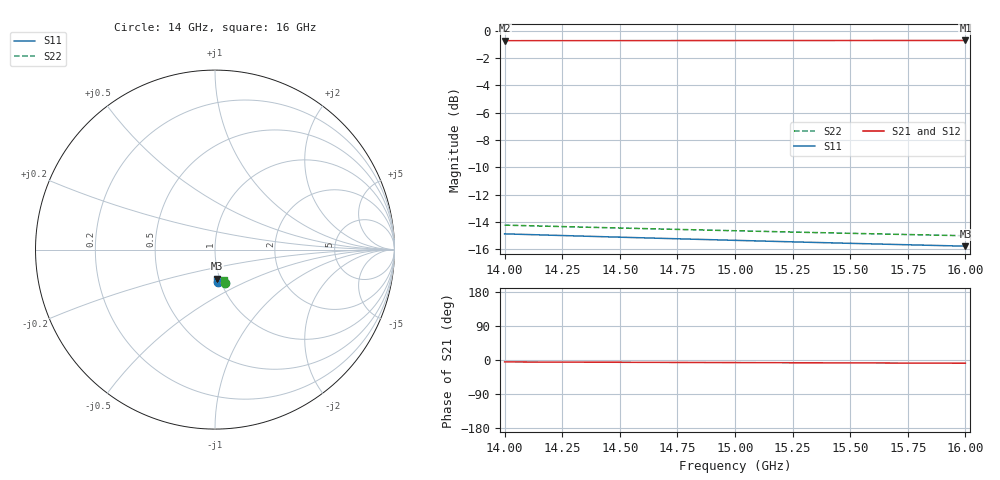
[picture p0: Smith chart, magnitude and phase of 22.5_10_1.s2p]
! Created Tue Dec 15 14:17:42 2020
# hz S ma R 50
! 2 Port Network Data from Sweep1.SP1.SP block
! freq  magS11  angS11  magS21  angS21  magS12  angS12  magS22  angS22
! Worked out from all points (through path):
!   21 points, 14 GHz to 16 GHz, reference 50 ohm
!   highest |S21| = -0.71 dB at 16 GHz (marker M1); lowest = -0.7 dB at 14 GHz (marker M2)
!   group delay of S21, straight-line fit = 4.63 ps
!   lowest |S11| = -15.8 dB at 16 GHz (marker M3), VSWR 1.39, Z = 48.4 - j16.2 ohm
!   |S11| at or under -10 dB: start of sweep to end of sweep
!   |S22| runs from -15.0 to -14.2 dB; largest |S21 - S12| = 0
1.4e10  0.1807 -84.6  0.9195 -5.1  0.9195 -5.1  0.1944 -72.7
1.41e10  0.1796 -84.7  0.9197 -5.3  0.9197 -5.3  0.1935 -72.7
1.42e10  0.1786 -84.8  0.9198 -5.5  0.9198 -5.5  0.1925 -72.8
1.43e10  0.1776 -84.8  0.9199 -5.7  0.9199 -5.7  0.1916 -72.8
1.44e10  0.1766 -84.9  0.92 -5.8  0.92 -5.8  0.1907 -72.8
1.45e10  0.1757 -85.0  0.9201 -6.0  0.9201 -6.0  0.1897 -72.9
1.46e10  0.1747 -85.1  0.9202 -6.2  0.9202 -6.2  0.1889 -72.9
1.47e10  0.1738 -85.2  0.9203 -6.3  0.9203 -6.3  0.188 -72.9
1.48e10  0.1728 -85.2  0.9204 -6.5  0.9204 -6.5  0.1871 -72.9
1.49e10  0.1719 -85.3  0.9205 -6.7  0.9205 -6.7  0.1863 -73.0
1.5e10  0.171 -85.4  0.9206 -6.8  0.9206 -6.8  0.1854 -73.0
1.51e10  0.1702 -85.5  0.9207 -7.0  0.9207 -7.0  0.1846 -73.0
1.52e10  0.1693 -85.6  0.9208 -7.2  0.9208 -7.2  0.1838 -73.1
1.53e10  0.1684 -85.6  0.9208 -7.3  0.9208 -7.3  0.183 -73.1
1.54e10  0.1676 -85.7  0.9209 -7.5  0.9209 -7.5  0.1822 -73.1
1.55e10  0.1668 -85.8  0.921 -7.7  0.921 -7.7  0.1815 -73.2
1.56e10  0.166 -85.9  0.9211 -7.8  0.9211 -7.8  0.1807 -73.2
1.57e10  0.1652 -86.0  0.9212 -8.0  0.9212 -8.0  0.18 -73.2
1.58e10  0.1644 -86.0  0.9212 -8.1  0.9212 -8.1  0.1792 -73.3
1.59e10  0.1636 -86.1  0.9213 -8.3  0.9213 -8.3  0.1785 -73.3
1.6e10  0.1628 -86.2  0.9214 -8.5  0.9214 -8.5  0.1778 -73.3
